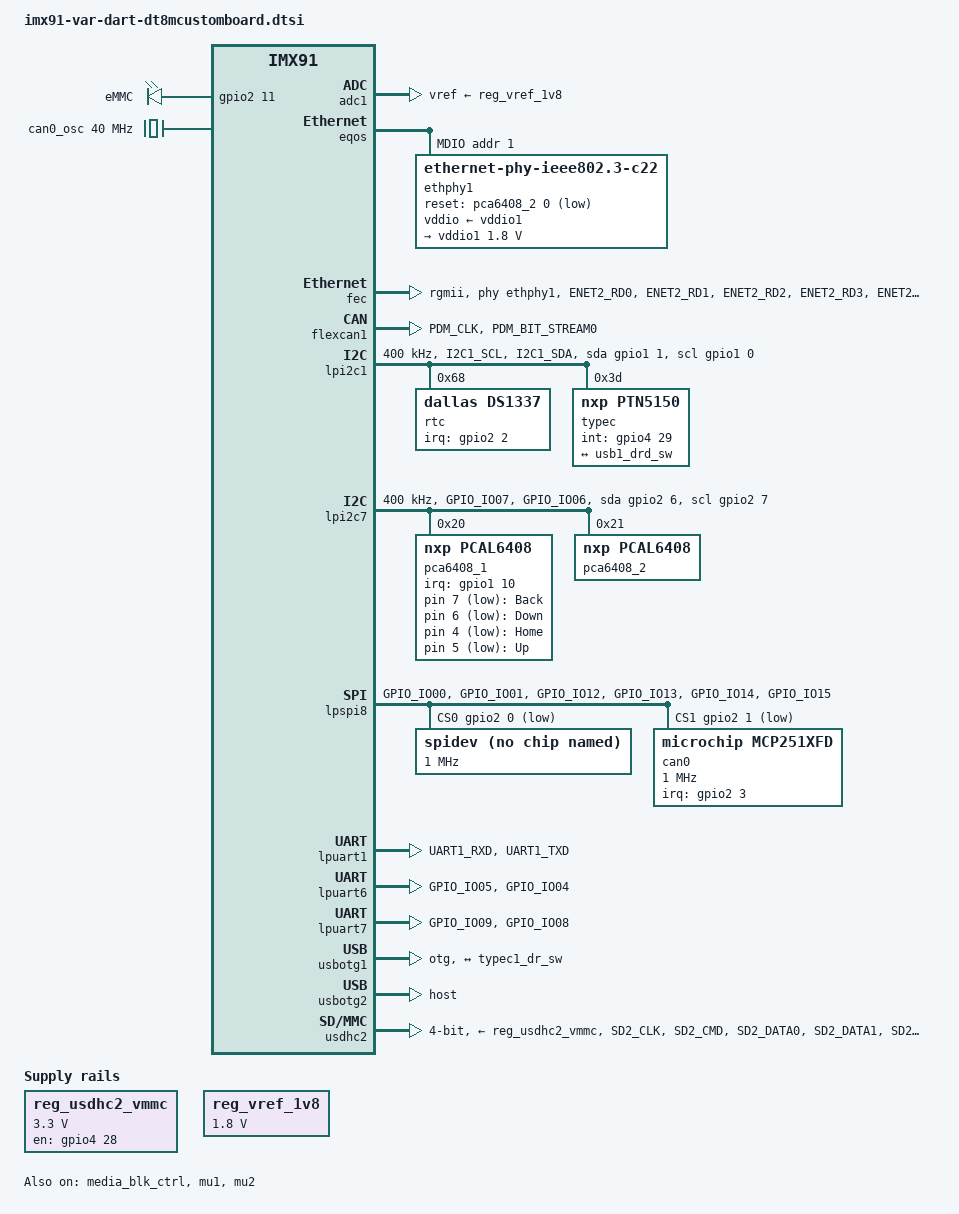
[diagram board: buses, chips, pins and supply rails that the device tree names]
// SPDX-License-Identifier: (GPL-2.0+ OR MIT)
/*
 * Copyright 2024 NXP
 * Copyright 2025 Variscite Ltd.
 */

/ {
	aliases {
		ethernet0 = &eqos;
		ethernet1 = &fec;
	};

	chosen {
		stdout-path = &lpuart1;
	};

	gpio-keys {
		compatible = "gpio-keys";
		status = "okay";

		back {
			label = "Back";
			linux,code = <KEY_BACK>;
			gpios = <&pca6408_1 7 GPIO_ACTIVE_LOW>;
			wakeup-source;
		};

		down {
			label = "Down";
			linux,code = <KEY_DOWN>;
			gpios = <&pca6408_1 6 GPIO_ACTIVE_LOW>;
			wakeup-source;
		};

		home {
			label = "Home";
			linux,code = <KEY_HOME>;
			gpios = <&pca6408_1 4 GPIO_ACTIVE_LOW>;
			wakeup-source;
		};

		up {
			label = "Up";
			linux,code = <KEY_UP>;
			gpios = <&pca6408_1 5 GPIO_ACTIVE_LOW>;
			wakeup-source;
		};
	};

	gpio_leds: gpio-leds {
		compatible = "gpio-leds";
		pinctrl-names = "default";
		pinctrl-0 = <&pinctrl_gpio_leds>;
		status = "okay";

		emmc {
			label = "eMMC";
			gpios = <&gpio2 11 GPIO_ACTIVE_HIGH>;
			linux,default-trigger = "mmc0";
		};
	};

	can0_osc: can0_osc {
		compatible = "fixed-clock";
		#clock-cells = <0>;
		clock-frequency = <40000000>;
	};

	reg_usdhc2_vmmc: regulator-usdhc2 {
		compatible = "regulator-fixed";
		pinctrl-names = "default";
		pinctrl-0 = <&pinctrl_reg_usdhc2_vmmc>;
		regulator-name = "VSD_3V3";
		regulator-min-microvolt = <3300000>;
		regulator-max-microvolt = <3300000>;
		gpio = <&gpio4 28 GPIO_ACTIVE_HIGH>;
		off-on-delay-us = <20000>;
		enable-active-high;
	};

	reg_vref_1v8: regulator-adc-vref {
		compatible = "regulator-fixed";
		regulator-name = "vref_1v8";
		regulator-min-microvolt = <1800000>;
		regulator-max-microvolt = <1800000>;
	};

	reserved-memory {
		#address-cells = <2>;
		#size-cells = <2>;
		ranges;

		linux,cma {
			compatible = "shared-dma-pool";
			reusable;
			alloc-ranges = <0 0x80000000 0 0x40000000>;
			size = <0 0x10000000>;
			linux,cma-default;
		};

		ele_reserved: ele-reserved@95f00000 {
			compatible = "shared-dma-pool";
			reg = <0 0x95f00000 0 0x100000>;
			no-map;
		};
	};
};

&adc1 {
	vref-supply = <&reg_vref_1v8>;
	status = "okay";
};

/* Use external instead of internal RTC */
&bbnsm_rtc {
	status = "disabled";
};

&ele_fw2 {
	memory-region = <&ele_reserved>;
};

&eqos {
	mdio {
		ethphy1: ethernet-phy@1 {
			compatible = "ethernet-phy-ieee802.3-c22";
			reg = <1>;
			at803x,eee-disabled;
			eee-broken-1000t;
			reset-gpios = <&pca6408_2 0 GPIO_ACTIVE_LOW>;
			reset-assert-us = <10000>;
			reset-deassert-us = <20000>;
			vddio-supply = <&vddio1>;

			vddio1: vddio-regulator {
				regulator-min-microvolt = <1800000>;
				regulator-max-microvolt = <1800000>;
			};
		};
	};
};

&fec {
	pinctrl-names = "default", "sleep";
	pinctrl-0 = <&pinctrl_fec>;
	pinctrl-1 = <&pinctrl_fec_sleep>;
	phy-mode = "rgmii";
	phy-handle = <&ethphy1>;
	status = "okay";
};

&flexcan1 {
	pinctrl-names = "default";
	pinctrl-0 = <&pinctrl_flexcan1>;
	status = "okay";
};

&iomuxc {
	pinctrl-names = "default";
	pinctrl-0 = <&pinctrl_hog>;

	pinctrl_hog: hoggrp {
		fsl,pins = <
			/* GPIO Expanders shared IRQ */
			MX91_PAD_PDM_BIT_STREAM1__GPIO1_IO10            0x31e
		>;
	};

	pinctrl_captouch: captouchgrp {
		fsl,pins = <
			MX91_PAD_CCM_CLKO2__GPIO3_IO27			0x31e
		>;
	};

	pinctrl_can: cangrp {
		fsl,pins = <
			MX91_PAD_GPIO_IO03__GPIO2_IO3			0x31e
		>;
	};

	pinctrl_extcon: extcongrp {
		fsl,pins = <
			MX91_PAD_CCM_CLKO4__GPIO4_IO29			0x31e
		>;
	};

	pinctrl_fec: fecgrp {
		fsl,pins = <
			MX91_PAD_ENET2_RD0__ENET2_RGMII_RD0		0x57e
			MX91_PAD_ENET2_RD1__ENET2_RGMII_RD1		0x57e
			MX91_PAD_ENET2_RD2__ENET2_RGMII_RD2		0x57e
			MX91_PAD_ENET2_RD3__ENET2_RGMII_RD3		0x57e
			MX91_PAD_ENET2_RXC__ENET2_RGMII_RXC		0x5fe
			MX91_PAD_ENET2_RX_CTL__ENET2_RGMII_RX_CTL	0x57e
			MX91_PAD_ENET2_TD0__ENET2_RGMII_TD0		0x57e
			MX91_PAD_ENET2_TD1__ENET2_RGMII_TD1		0x57e
			MX91_PAD_ENET2_TD2__ENET2_RGMII_TD2		0x57e
			MX91_PAD_ENET2_TD3__ENET2_RGMII_TD3		0x57e
			MX91_PAD_ENET2_TXC__ENET2_RGMII_TXC		0x5fe
			MX91_PAD_ENET2_TX_CTL__ENET2_RGMII_TX_CTL	0x57e
		>;
	};

	pinctrl_fec_sleep: fecsleepgrp {
		fsl,pins = <
			MX91_PAD_ENET2_RD0__GPIO4_IO24			0x51e
			MX91_PAD_ENET2_RD1__GPIO4_IO25			0x51e
			MX91_PAD_ENET2_RD2__GPIO4_IO26			0x51e
			MX91_PAD_ENET2_RD3__GPIO4_IO27			0x51e
			MX91_PAD_ENET2_RXC__GPIO4_IO23                  0x51e
			MX91_PAD_ENET2_RX_CTL__GPIO4_IO22		0x51e
			MX91_PAD_ENET2_TD0__GPIO4_IO19			0x51e
			MX91_PAD_ENET2_TD1__GPIO4_IO18			0x51e
			MX91_PAD_ENET2_TD2__GPIO4_IO17			0x51e
			MX91_PAD_ENET2_TD3__GPIO4_IO16			0x51e
			MX91_PAD_ENET2_TXC__GPIO4_IO21                  0x51e
			MX91_PAD_ENET2_TX_CTL__GPIO4_IO20               0x51e
		>;
	};

	pinctrl_flexcan1: flexcan1grp {
		fsl,pins = <
			MX91_PAD_PDM_CLK__CAN1_TX			0x139e
			MX91_PAD_PDM_BIT_STREAM0__CAN1_RX		0x139e
		>;
	};

	pinctrl_gpio_leds: ledgrp {
		fsl,pins = <
			MX91_PAD_GPIO_IO11__GPIO2_IO11			0x31e
		>;
	};

	pinctrl_lpi2c1: lpi2c1grp {
		fsl,pins = <
			MX91_PAD_I2C1_SCL__LPI2C1_SCL			0x40000b9e
			MX91_PAD_I2C1_SDA__LPI2C1_SDA			0x40000b9e
		>;
	};

	pinctrl_lpi2c1_gpio: lpi2c1grp-gpio {
		fsl,pins = <
			MX91_PAD_I2C1_SCL__GPIO1_IO0			0x31e
			MX91_PAD_I2C1_SDA__GPIO1_IO1			0x31e
		>;
	};

	pinctrl_lpi2c7: lpi2c7grp {
		fsl,pins = <
			MX91_PAD_GPIO_IO07__LPI2C7_SCL			0x40000b9e
			MX91_PAD_GPIO_IO06__LPI2C7_SDA			0x40000b9e
		>;
	};

	pinctrl_lpi2c7_gpio: lpi2c7grp-gpio {
		fsl,pins = <
			MX91_PAD_GPIO_IO07__GPIO2_IO7			0x31e
			MX91_PAD_GPIO_IO06__GPIO2_IO6			0x31e
		>;
	};

	pinctrl_lpspi8: lpspi8grp {
		fsl,pins = <
			MX91_PAD_GPIO_IO00__GPIO2_IO0			0x31e /* j14.2 spidev */
			MX91_PAD_GPIO_IO01__GPIO2_IO1			0x31e /* j14.4 MCP2518FDT */
			MX91_PAD_GPIO_IO12__GPIO2_IO12			0x31e /* j16.4 ADS7846 */
			MX91_PAD_GPIO_IO13__LPSPI8_SIN			0x31e
			MX91_PAD_GPIO_IO14__LPSPI8_SOUT			0x31e
			MX91_PAD_GPIO_IO15__LPSPI8_SCK			0x31e
		>;
	};

	pinctrl_reg_usdhc2_vmmc: regusdhc2vmmcgrp {
		fsl,pins = <
			MX91_PAD_CCM_CLKO3__GPIO4_IO28			0x31e
		>;
	};

	pinctrl_rtc: rtcgrp {
		fsl,pins = <
			MX91_PAD_GPIO_IO02__GPIO2_IO2			0x31e
		>;
	};

	pinctrl_uart1: uart1grp {
		fsl,pins = <
			MX91_PAD_UART1_RXD__LPUART1_RX			0x31e
			MX91_PAD_UART1_TXD__LPUART1_TX			0x31e
		>;
	};

	pinctrl_uart6: uart6grp {
		fsl,pins = <
			MX91_PAD_GPIO_IO05__LPUART6_RX			0x31e
			MX91_PAD_GPIO_IO04__LPUART6_TX			0x31e
		>;
	};

	pinctrl_uart7: uart7grp {
		fsl,pins = <
			MX91_PAD_GPIO_IO09__LPUART7_RX			0x31e
			MX91_PAD_GPIO_IO08__LPUART7_TX			0x31e
		>;
	};

	pinctrl_usdhc2: usdhc2grp {
		fsl,pins = <
			MX91_PAD_SD2_CLK__USDHC2_CLK			0x1582
			MX91_PAD_SD2_CMD__USDHC2_CMD			0x1382
			MX91_PAD_SD2_DATA0__USDHC2_DATA0		0x1382
			MX91_PAD_SD2_DATA1__USDHC2_DATA1		0x1382
			MX91_PAD_SD2_DATA2__USDHC2_DATA2		0x1382
			MX91_PAD_SD2_DATA3__USDHC2_DATA3		0x1382
			MX91_PAD_SD2_VSELECT__USDHC2_VSELECT		0x51e
		>;
	};

	pinctrl_usdhc2_100mhz: usdhc2-100mhzgrp {
		fsl,pins = <
			MX91_PAD_SD2_CLK__USDHC2_CLK			0x158e
			MX91_PAD_SD2_CMD__USDHC2_CMD			0x138e
			MX91_PAD_SD2_DATA0__USDHC2_DATA0		0x138e
			MX91_PAD_SD2_DATA1__USDHC2_DATA1		0x138e
			MX91_PAD_SD2_DATA2__USDHC2_DATA2		0x138e
			MX91_PAD_SD2_DATA3__USDHC2_DATA3		0x138e
			MX91_PAD_SD2_VSELECT__USDHC2_VSELECT		0x51e
		>;
	};

	pinctrl_usdhc2_200mhz: usdhc2-200mhzgrp {
		fsl,pins = <
			MX91_PAD_SD2_CLK__USDHC2_CLK			0x15fe
			MX91_PAD_SD2_CMD__USDHC2_CMD			0x13fe
			MX91_PAD_SD2_DATA0__USDHC2_DATA0		0x13fe
			MX91_PAD_SD2_DATA1__USDHC2_DATA1		0x13fe
			MX91_PAD_SD2_DATA2__USDHC2_DATA2		0x13fe
			MX91_PAD_SD2_DATA3__USDHC2_DATA3		0x13fe
			MX91_PAD_SD2_VSELECT__USDHC2_VSELECT		0x51e
		>;
	};

	pinctrl_usdhc2_sleep: usdhc2grpsleep {
		fsl,pins = <
			MX91_PAD_SD2_CLK__GPIO3_IO1			0x51e
			MX91_PAD_SD2_CMD__GPIO3_IO2			0x51e
			MX91_PAD_SD2_DATA0__GPIO3_IO3			0x51e
			MX91_PAD_SD2_DATA1__GPIO3_IO4			0x51e
			MX91_PAD_SD2_DATA2__GPIO3_IO5			0x51e
			MX91_PAD_SD2_DATA3__GPIO3_IO6			0x51e
			MX91_PAD_SD2_VSELECT__GPIO3_IO19		0x51e
		>;
	};

	pinctrl_usdhc2_gpio: usdhc2gpiogrp {
		fsl,pins = <
			MX91_PAD_SD2_CD_B__GPIO3_IO0			0x31e
		>;
	};

	pinctrl_usdhc2_gpio_sleep: usdhc2gpiogrpsleep {
		fsl,pins = <
			MX91_PAD_SD2_CD_B__GPIO3_IO0			0x51e
		>;
	};
};

&lpi2c1 {
	#address-cells = <1>;
	#size-cells = <0>;
	clock-frequency = <400000>;
	pinctrl-names = "default", "sleep", "gpio";
	pinctrl-0 = <&pinctrl_lpi2c1>;
	pinctrl-1 = <&pinctrl_lpi2c1_gpio>;
	pinctrl-2 = <&pinctrl_lpi2c1_gpio>;
	scl-gpios = <&gpio1 0 GPIO_ACTIVE_HIGH>;
	sda-gpios = <&gpio1 1 GPIO_ACTIVE_HIGH>;
	status = "okay";

	/* Capacitive touch controller */
	ft5x06_ts: ft5x06_ts@38 {
		compatible = "edt,edt-ft5206";
		reg = <0x38>;
		pinctrl-names = "default";
		pinctrl-0 = <&pinctrl_captouch>;
		reset-gpios = <&pca6408_2 4 GPIO_ACTIVE_LOW>;
		interrupt-parent = <&gpio3>;
		interrupts = <27 IRQ_TYPE_EDGE_FALLING>;
		touchscreen-size-x = <800>;
		touchscreen-size-y = <480>;
		touchscreen-inverted-x;
		touchscreen-inverted-y;
		wakeup-source;
		status = "disabled";
	};

	/* DS1337 RTC module */
	rtc:rtc@68 {
		compatible = "dallas,ds1337";
		reg = <0x68>;
		pinctrl-names = "default";
		pinctrl-0 = <&pinctrl_rtc>;
		interrupt-parent = <&gpio2>;
		interrupts = <2 IRQ_TYPE_EDGE_FALLING>;
		wakeup-source;
		status = "okay";
	};

	/* USB Type-C Controller */
	typec@3d {
		reg = <0x3d>;
		compatible = "nxp,ptn5150";
		pinctrl-names = "default";
		pinctrl-0 = <&pinctrl_extcon>;
		int-gpios=<&gpio4 29 GPIO_ACTIVE_HIGH>;
		irq-is-id-quirk;
		status ="okay";

		port {
			typec1_dr_sw: endpoint {
				remote-endpoint = <&usb1_drd_sw>;
			};
		};
	};
};

&lpi2c7 {
	#address-cells = <1>;
	#size-cells = <0>;
	clock-frequency = <400000>;
	pinctrl-names = "default", "sleep", "gpio";
	pinctrl-0 = <&pinctrl_lpi2c7>;
	pinctrl-1 = <&pinctrl_lpi2c7_gpio>;
	pinctrl-2 = <&pinctrl_lpi2c7_gpio>;
	scl-gpios = <&gpio2 7 GPIO_ACTIVE_HIGH>;
	sda-gpios = <&gpio2 6 GPIO_ACTIVE_HIGH>;
	status = "okay";

	pca6408_1: gpio@20 {
		compatible = "nxp,pcal6408";
		standard-regs-fallback;
		reg = <0x20>;
		gpio-controller;
		#gpio-cells = <2>;
		interrupt-parent = <&gpio1>;
		interrupts = <10 IRQ_TYPE_EDGE_FALLING>;
	};

	pca6408_2: gpio@21 {
		compatible = "nxp,pcal6408";
		standard-regs-fallback;
		reg = <0x21>;
		gpio-controller;
		#gpio-cells = <2>;
	};
};

&lpspi8 {
	pinctrl-names = "default";
	pinctrl-0 = <&pinctrl_lpspi8>;
	cs-gpios = <&gpio2 0 GPIO_ACTIVE_LOW>, /* j14.2 */
		<&gpio2 1 GPIO_ACTIVE_LOW>;
	status = "okay";

	spidev@0 {
		reg = <0>;
		compatible = "var,spidev";
		spi-max-frequency = <1000000>;
		status = "okay";
	};

	can0: can@1 {
		compatible = "microchip,mcp251xfd";
		reg = <1>;
		pinctrl-names = "default";
		pinctrl-0 = <&pinctrl_can>;
		interrupt-parent = <&gpio2>;
		interrupts = <3 IRQ_TYPE_LEVEL_LOW>;
		clocks = <&can0_osc>;
		spi-max-frequency = <1000000>;
		status = "okay";
	};
};

/* Console (J10) */
&lpuart1 {
	pinctrl-names = "default";
	pinctrl-0 = <&pinctrl_uart1>;
	status = "okay";
};

/* Header (J12.4, J12.6) */
&lpuart6 {
	pinctrl-names = "default";
	pinctrl-0 = <&pinctrl_uart6>;
	status = "okay";
};

/* Header (J12.11, J12.13) */
&lpuart7 {
	pinctrl-names = "default";
	pinctrl-0 = <&pinctrl_uart7>;
	status = "okay";
};

&media_blk_ctrl {
	status = "okay";
};

&mu1 {
	status = "okay";
};

&mu2 {
	status = "okay";
};

&usbotg1 {
	dr_mode = "otg";
	hnp-disable;
	srp-disable;
	adp-disable;
	usb-role-switch;
	disable-over-current;
	samsung,picophy-pre-emp-curr-control = <3>;
	samsung,picophy-dc-vol-level-adjust = <7>;
	role-switch-default-mode = "none";
	status = "okay";

	port {
		usb1_drd_sw: endpoint {
			remote-endpoint = <&typec1_dr_sw>;
		};
	};
};

&usbotg2 {
	disable-over-current;
	dr_mode = "host";
	status = "okay";
};

/* SD */
&usdhc2 {
	pinctrl-names = "default", "state_100mhz", "state_200mhz", "sleep";
	pinctrl-0 = <&pinctrl_usdhc2>, <&pinctrl_usdhc2_gpio>;
	pinctrl-1 = <&pinctrl_usdhc2_100mhz>, <&pinctrl_usdhc2_gpio>;
	pinctrl-2 = <&pinctrl_usdhc2_200mhz>, <&pinctrl_usdhc2_gpio>;
	pinctrl-3 = <&pinctrl_usdhc2_sleep>, <&pinctrl_usdhc2_gpio_sleep>;
	cd-gpios = <&gpio3 00 GPIO_ACTIVE_LOW>;
	fsl,cd-gpio-wakeup-disable;
	vmmc-supply = <&reg_usdhc2_vmmc>;
	bus-width = <4>;
	status = "okay";
	no-sdio;
	no-mmc;
};
